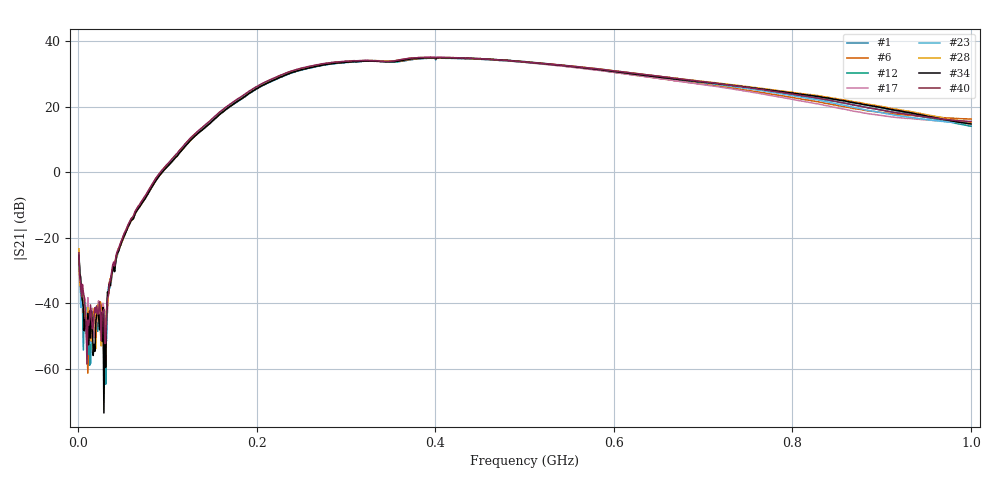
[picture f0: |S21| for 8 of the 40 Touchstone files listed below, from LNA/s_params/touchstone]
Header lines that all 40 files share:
! Created with skrf 1.9.0 (http://scikit-rf.org).
# Hz S RI R 50.0
!freq ReS11 ImS11 ReS21 ImS21 ReS12 ImS12 ReS22 ImS22
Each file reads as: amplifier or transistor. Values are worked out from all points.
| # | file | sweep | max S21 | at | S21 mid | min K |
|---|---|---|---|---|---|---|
| 1 | LNA00242P2.s2p | 1 MHz to 1 GHz | 34.9 dB | 406.6 MHz | 33.7 dB at 500.5 MHz | -0.63 |
| 2 | LNA00243P1.s2p | 1 MHz to 1 GHz | 35.1 dB | 394.6 MHz | 33.9 dB at 500.5 MHz | -5.70 |
| 3 | LNA00243P2.s2p | 1 MHz to 1 GHz | 35.0 dB | 394.6 MHz | 33.8 dB at 500.5 MHz | 0.29 |
| 4 | LNA00244P1.s2p | 1 MHz to 1 GHz | 34.8 dB | 394.6 MHz | 33.5 dB at 500.5 MHz | -0.08 |
| 5 | LNA00244P2.s2p | 1 MHz to 1 GHz | 35.0 dB | 416.6 MHz | 33.8 dB at 500.5 MHz | 0.25 |
| 6 | LNA00245P1.s2p | 1 MHz to 1 GHz | 35.1 dB | 394.6 MHz | 33.7 dB at 500.5 MHz | -42.42 |
| 7 | LNA00245P2.s2p | 1 MHz to 1 GHz | 35.2 dB | 394.6 MHz | 33.8 dB at 500.5 MHz | -0.59 |
| 8 | LNA00246P1.s2p | 1 MHz to 1 GHz | 34.8 dB | 404.6 MHz | 33.5 dB at 500.5 MHz | -2.22 |
| 9 | LNA00246P2.s2p | 1 MHz to 1 GHz | 34.9 dB | 394.6 MHz | 33.6 dB at 500.5 MHz | -0.04 |
| 10 | LNA00247P1.s2p | 1 MHz to 1 GHz | 35.0 dB | 410.6 MHz | 33.8 dB at 500.5 MHz | -49.19 |
| 11 | LNA00247P2.s2p | 1 MHz to 1 GHz | 34.8 dB | 404.6 MHz | 33.6 dB at 500.5 MHz | -1.70 |
| 12 | LNA00248P1.s2p | 1 MHz to 1 GHz | 34.8 dB | 394.6 MHz | 33.6 dB at 500.5 MHz | 0.00 |
| 13 | LNA00248P2.s2p | 1 MHz to 1 GHz | 34.9 dB | 404.6 MHz | 33.6 dB at 500.5 MHz | 0.16 |
| 14 | LNA00249P1.s2p | 1 MHz to 1 GHz | 34.8 dB | 394.6 MHz | 33.6 dB at 500.5 MHz | -0.14 |
| 15 | LNA00249P2.s2p | 1 MHz to 1 GHz | 35.3 dB | 404.6 MHz | 34.0 dB at 500.5 MHz | -0.04 |
| 16 | LNA00250P1.s2p | 1 MHz to 1 GHz | 34.8 dB | 404.6 MHz | 33.7 dB at 500.5 MHz | 0.29 |
| 17 | LNA00250P2.s2p | 1 MHz to 1 GHz | 34.9 dB | 394.6 MHz | 33.6 dB at 500.5 MHz | -0.01 |
| 18 | LNA00301P1.s2p | 1 MHz to 1 GHz | 35.0 dB | 404.6 MHz | 33.8 dB at 500.5 MHz | -0.68 |
| 19 | LNA00301P2.s2p | 1 MHz to 1 GHz | 35.0 dB | 404.6 MHz | 33.7 dB at 500.5 MHz | -0.04 |
| 20 | LNA00302P1.s2p | 1 MHz to 1 GHz | 35.1 dB | 394.6 MHz | 33.9 dB at 500.5 MHz | -0.07 |
| 21 | LNA00302P2.s2p | 1 MHz to 1 GHz | 35.0 dB | 394.6 MHz | 33.7 dB at 500.5 MHz | -2.55 |
| 22 | LNA00303P1.s2p | 1 MHz to 1 GHz | 35.0 dB | 405.6 MHz | 33.7 dB at 500.5 MHz | -0.20 |
| 23 | LNA00303P2.s2p | 1 MHz to 1 GHz | 35.0 dB | 404.6 MHz | 33.8 dB at 500.5 MHz | -45.99 |
| 24 | LNA00304P1.s2p | 1 MHz to 1 GHz | 35.0 dB | 394.6 MHz | 33.8 dB at 500.5 MHz | -2.84 |
| 25 | LNA00304P2.s2p | 1 MHz to 1 GHz | 35.2 dB | 404.6 MHz | 33.9 dB at 500.5 MHz | -0.10 |
| 26 | LNA00305P1.s2p | 43.96 MHz to 1 GHz | 35.1 dB | 410.6 MHz | 33.5 dB at 522.5 MHz | -0.05 |
| 27 | LNA00305P2.s2p | 1 MHz to 1 GHz | 35.2 dB | 406.6 MHz | 34.0 dB at 500.5 MHz | -0.49 |
| 28 | LNA00306P1.s2p | 1 MHz to 1 GHz | 34.9 dB | 404.6 MHz | 33.8 dB at 500.5 MHz | -9.89 |
| 29 | LNA00306P2.s2p | 1 MHz to 1 GHz | 35.0 dB | 394.6 MHz | 33.7 dB at 500.5 MHz | -0.54 |
| 30 | LNA00307P1.s2p | 1 MHz to 1 GHz | 34.8 dB | 394.6 MHz | 33.5 dB at 500.5 MHz | 0.15 |
| 31 | LNA00307P2.s2p | 1 MHz to 1 GHz | 35.1 dB | 394.6 MHz | 33.9 dB at 500.5 MHz | -16.22 |
| 32 | LNA00308P1.s2p | 1 MHz to 1 GHz | 34.9 dB | 405.6 MHz | 33.7 dB at 500.5 MHz | -0.13 |
| 33 | LNA00308P2.s2p | 1 MHz to 1 GHz | 35.1 dB | 394.6 MHz | 33.9 dB at 500.5 MHz | 0.02 |
| 34 | LNA00309P1.s2p | 1 MHz to 1 GHz | 34.9 dB | 404.6 MHz | 33.7 dB at 500.5 MHz | -15.66 |
| 35 | LNA00309P2.s2p | 1 MHz to 1 GHz | 34.9 dB | 394.6 MHz | 33.7 dB at 500.5 MHz | -0.16 |
| 36 | LNA00310P1.s2p | 1 MHz to 1 GHz | 34.7 dB | 405.6 MHz | 33.6 dB at 500.5 MHz | 0.01 |
| 37 | LNA00310P2.s2p | 1 MHz to 1 GHz | 35.0 dB | 388.6 MHz | 33.7 dB at 500.5 MHz | 0.00 |
| 38 | LNA00311P1.s2p | 1 MHz to 1 GHz | 34.7 dB | 394.6 MHz | 33.5 dB at 500.5 MHz | -208.51 |
| 39 | LNA00311P2.s2p | 1 MHz to 1 GHz | 35.0 dB | 394.6 MHz | 33.8 dB at 500.5 MHz | -5.00 |
| 40 | LNA00312P1.s2p | 1 MHz to 1 GHz | 35.1 dB | 394.6 MHz | 33.7 dB at 500.5 MHz | -0.33 |
